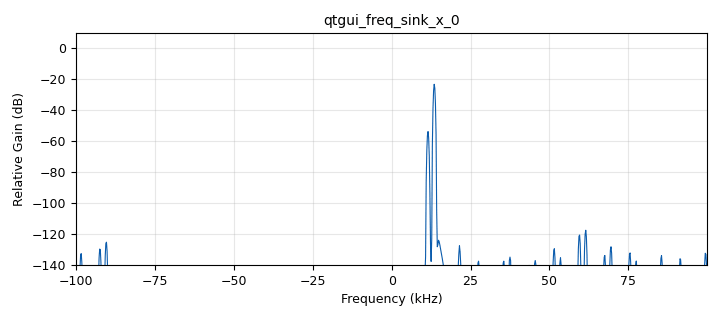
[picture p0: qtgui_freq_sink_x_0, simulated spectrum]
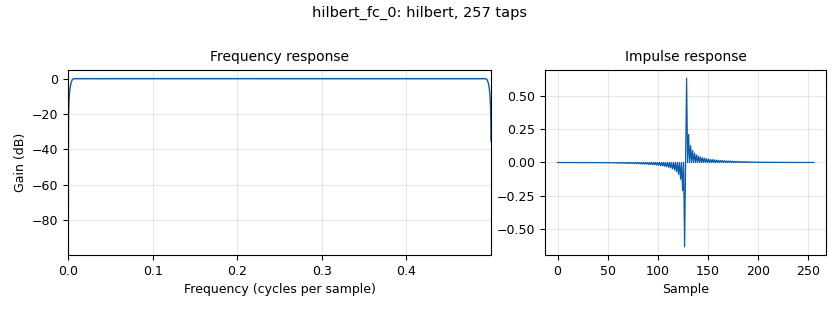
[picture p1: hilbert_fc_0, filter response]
options:
  parameters:
    category: Custom
    generate_options: qt_gui
    id: top_block
    output_language: python
  states: {}

blocks:
- name: samp_rate
  id: variable
  parameters:
    value: 200e3
  states: {}
- name: analog_sig_source_x_0
  id: analog_sig_source_x
  parameters:
    amp: '1'
    freq: 12.50015e3
    offset: '0'
    phase: '0'
    samp_rate: samp_rate
    type: complex
    waveform: analog.GR_COS_WAVE
  states: {}
- name: analog_sig_source_x_0_0
  id: analog_sig_source_x
  parameters:
    amp: '1'
    freq: 12.5e3
    offset: '0'
    phase: '0'
    samp_rate: samp_rate
    type: float
    waveform: analog.GR_SIN_WAVE
  states: {}
- name: analog_sig_source_x_0_1
  id: analog_sig_source_x
  parameters:
    amp: '1'
    freq: 12.5e3
    offset: '0'
    phase: '0'
    samp_rate: samp_rate
    type: float
    waveform: analog.GR_COS_WAVE
  states: {}
- name: analog_sig_source_x_0_2
  id: analog_sig_source_x
  parameters:
    amp: '0.2'
    freq: 1e3
    offset: '0'
    phase: '0'
    samp_rate: 48e3
    type: float
    waveform: analog.GR_COS_WAVE
  states: {}
- name: audio_sink_0
  id: audio_sink
  parameters:
    samp_rate: '48000'
  states: {}
- name: audio_source_0
  id: audio_source
  parameters:
    samp_rate: '48000'
  states: {state: disabled}
- name: blocks_add_xx_0
  id: blocks_add_xx
  parameters:
    type: float
  states: {}
- name: blocks_complex_to_float_0
  id: blocks_complex_to_float
  parameters: {}
  states: {}
- name: blocks_multiply_const_vxx_0
  id: blocks_multiply_const_vxx
  parameters:
    const: '100'
    type: float
  states: {}
- name: blocks_multiply_xx_0
  id: blocks_multiply_xx
  parameters:
    type: float
  states: {}
- name: blocks_multiply_xx_0_0
  id: blocks_multiply_xx
  parameters:
    type: complex
  states: {}
- name: blocks_multiply_xx_0_0_0
  id: blocks_multiply_xx
  parameters:
    type: float
  states: {}
- name: hilbert_fc_0
  id: hilbert_fc
  parameters:
    num_taps: '256'
    win: firdes.WIN_HAMMING
  states: {}
- name: qtgui_freq_sink_x_0
  id: qtgui_freq_sink_x
  parameters:
    bw: samp_rate
    fc: ''
    fftsize: '1024'
    type: complex
    wintype: firdes.WIN_BLACKMAN_hARRIS
  states: {}
- name: qtgui_time_sink_x_0
  id: qtgui_time_sink_x
  parameters:
    size: '1024'
    srate: samp_rate
    type: float
  states: {}
- name: rational_resampler_xxx_0
  id: rational_resampler_xxx
  parameters:
    decim: '6'
    interp: '25'
    taps: ''
    type: fff
  states: {}
- name: rational_resampler_xxx_0_0
  id: rational_resampler_xxx
  parameters:
    decim: '25'
    interp: '6'
    taps: ''
    type: fff
  states: {}
- name: uhd_usrp_sink_0
  id: uhd_usrp_sink
  parameters:
    ant0: TX/RX
    bw0: 100e3
    center_freq0: 462.55e6
    clock_rate: '0.0'
    dev_args: '""'
    gain0: '50'
    len_tag_name: ''
    norm_gain0: 'False'
    samp_rate: samp_rate
    sync: sync
    type: fc32
  states: {}
- name: uhd_usrp_source_0
  id: uhd_usrp_source
  parameters:
    ant0: RX2
    bw0: 100e3
    center_freq0: 462.55e6
    clock_rate: '0.0'
    dc_offs_enb0: '""'
    dev_args: '""'
    gain0: '50'
    iq_imbal_enb0: '""'
    norm_gain0: 'False'
    samp_rate: samp_rate
    sync: sync
    type: fc32
  states: {}

connections:
- [analog_sig_source_x_0, '0', blocks_multiply_xx_0_0, '0']
- [analog_sig_source_x_0_0, '0', blocks_multiply_xx_0_0_0, '1']
- [analog_sig_source_x_0_1, '0', blocks_multiply_xx_0, '0']
- [analog_sig_source_x_0_2, '0', rational_resampler_xxx_0, '0']
- [audio_source_0, '0', rational_resampler_xxx_0, '0']
- [blocks_add_xx_0, '0', blocks_multiply_const_vxx_0, '0']
- [blocks_complex_to_float_0, '0', blocks_multiply_xx_0, '1']
- [blocks_complex_to_float_0, '1', blocks_multiply_xx_0_0_0, '0']
- [blocks_multiply_const_vxx_0, '0', rational_resampler_xxx_0_0, '0']
- [blocks_multiply_xx_0, '0', blocks_add_xx_0, '0']
- [blocks_multiply_xx_0_0, '0', qtgui_freq_sink_x_0, '0']
- [blocks_multiply_xx_0_0, '0', uhd_usrp_sink_0, '0']
- [blocks_multiply_xx_0_0_0, '0', blocks_add_xx_0, '1']
- [hilbert_fc_0, '0', blocks_multiply_xx_0_0, '1']
- [rational_resampler_xxx_0, '0', hilbert_fc_0, '0']
- [rational_resampler_xxx_0_0, '0', audio_sink_0, '0']
- [rational_resampler_xxx_0_0, '0', qtgui_time_sink_x_0, '0']
- [uhd_usrp_source_0, '0', blocks_complex_to_float_0, '0']

metadata:
  file_format: 1
